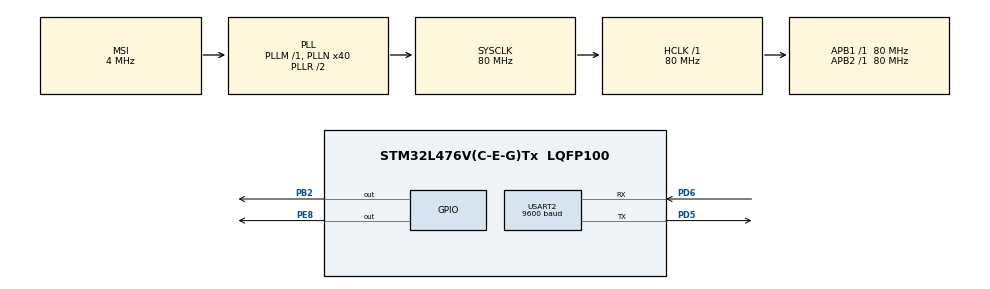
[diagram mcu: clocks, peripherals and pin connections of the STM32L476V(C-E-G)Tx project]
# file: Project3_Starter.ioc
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FREERTOS.Tasks01=defaultTask,0,128,StartDefaultTask,Default,NULL
FREERTOS.configTOTAL_HEAP_SIZE=8192
Mcu.Family=STM32L4
Mcu.Name=STM32L476V(C-E-G)Tx
Mcu.Package=LQFP100
NVIC.PriorityGroup=NVIC_PRIORITYGROUP_4
NVIC.TIM1_UP_TIM16_IRQn=true\:0\:0\:false\:false\:true\:false\:false
NVIC.TimeBase=TIM1_UP_TIM16_IRQn
NVIC.TimeBaseIP=TIM1
PB2.GPIO_Speed=GPIO_SPEED_FREQ_VERY_HIGH
PB2.Signal=GPIO_Output
PD5.Mode=Asynchronous
PD5.Signal=USART2_TX
PD6.Mode=Asynchronous
PD6.Signal=USART2_RX
PE8.GPIO_Speed=GPIO_SPEED_FREQ_VERY_HIGH
PE8.Signal=GPIO_Output
ProjectManager.HeapSize=0x2000
ProjectManager.StackSize=0xF000
ProjectManager.TargetToolchain=MDK-ARM V5
RCC.ADCFreq_Value=32000000
RCC.AHBFreq_Value=80000000
RCC.APB1Freq_Value=80000000
RCC.APB1TimFreq_Value=80000000
RCC.APB2Freq_Value=80000000
RCC.APB2TimFreq_Value=80000000
RCC.CortexFreq_Value=80000000
RCC.HCLKFreq_Value=80000000
RCC.HSE_VALUE=8000000
RCC.HSI_VALUE=16000000
RCC.LSE_VALUE=32768
RCC.MSI_VALUE=4000000
RCC.PLLN=40
RCC.PLLSAI1N=16
RCC.SYSCLKFreq_VALUE=80000000
RCC.SYSCLKSource=RCC_SYSCLKSOURCE_PLLCLK
RCC.USBFreq_Value=32000000
RCC.VCOOutputFreq_Value=160000000
USART2.BaudRate=9600
USART2.VirtualMode-Asynchronous=VM_ASYNC
VP_FREERTOS_VS_ENABLE.Mode=Enabled
VP_RNG_VS_RNG.Mode=RNG_Activate
VP_SYS_VS_tim1.Mode=TIM1
board=custom

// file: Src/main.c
/* USER CODE BEGIN Header */
/**
  ******************************************************************************
  * @file           : main.c
  * @brief          : Main program body
  ******************************************************************************
  * This notice applies to any and all portions of this file
  * that are not between comment pairs USER CODE BEGIN and
  * USER CODE END. Other portions of this file, whether
  * inserted by the user or by software development tools
  * are owned by their respective copyright owners.
  *
  * Copyright (c) 2019 STMicroelectronics International N.V.
  * All rights reserved.
  *
  * Redistribution and use in source and binary forms, with or without
  * modification, are permitted, provided that the following conditions are met:
  *
  * 1. Redistribution of source code must retain the above copyright notice,
  *    this list of conditions and the following disclaimer.
  * 2. Redistributions in binary form must reproduce the above copyright notice,
  *    this list of conditions and the following disclaimer in the documentation
  *    and/or other materials provided with the distribution.
  * 3. Neither the name of STMicroelectronics nor the names of other
  *    contributors to this software may be used to endorse or promote products
  *    derived from this software without specific written permission.
  * 4. This software, including modifications and/or derivative works of this
  *    software, must execute solely and exclusively on microcontroller or
  *    microprocessor devices manufactured by or for STMicroelectronics.
  * 5. Redistribution and use of this software other than as permitted under
  *    this license is void and will automatically terminate your rights under
  *    this license.
  *
  * THIS SOFTWARE IS PROVIDED BY STMICROELECTRONICS AND CONTRIBUTORS "AS IS"
  * AND ANY EXPRESS, IMPLIED OR STATUTORY WARRANTIES, INCLUDING, BUT NOT
  * LIMITED TO, THE IMPLIED WARRANTIES OF MERCHANTABILITY, FITNESS FOR A
  * PARTICULAR PURPOSE AND NON-INFRINGEMENT OF THIRD PARTY INTELLECTUAL PROPERTY
  * RIGHTS ARE DISCLAIMED TO THE FULLEST EXTENT PERMITTED BY LAW. IN NO EVENT
  * SHALL STMICROELECTRONICS OR CONTRIBUTORS BE LIABLE FOR ANY DIRECT, INDIRECT,
  * INCIDENTAL, SPECIAL, EXEMPLARY, OR CONSEQUENTIAL DAMAGES (INCLUDING, BUT NOT
  * LIMITED TO, PROCUREMENT OF SUBSTITUTE GOODS OR SERVICES; LOSS OF USE, DATA,
  * OR PROFITS; OR BUSINESS INTERRUPTION) HOWEVER CAUSED AND ON ANY THEORY OF
  * LIABILITY, WHETHER IN CONTRACT, STRICT LIABILITY, OR TORT (INCLUDING
  * NEGLIGENCE OR OTHERWISE) ARISING IN ANY WAY OUT OF THE USE OF THIS SOFTWARE,
  * EVEN IF ADVISED OF THE POSSIBILITY OF SUCH DAMAGE.
  *
  ******************************************************************************
  */
/* USER CODE END Header */

#include "main.h"
#include "cmsis_os.h"
#include "rng.h"
#include "usart.h"
#include "gpio.h"

/* USER CODE BEGIN Includes */
#include "led_task.h"           // needed for led_task_init

#include "recipe_task.h"
#include "user_command_task.h"

#include "prewritten_recipes.h"
#include "timer.h"
#include "LED.h"
#include "PWM.h"

/* USER CODE END Includes */

void SystemClock_Config(void);
void MX_FREERTOS_Init(void);

int main(void)
{

  /* MCU Configuration--------------------------------------------------------*/

  /* Reset of all peripherals, Initializes the Flash interface and the Systick. */
  HAL_Init();

  /* Configure the system clock */
  SystemClock_Config();

  /* Initialize all configured peripherals */
  MX_GPIO_Init();
  MX_RNG_Init();
  MX_USART2_UART_Init();
  /* USER CODE BEGIN 2 */

	USART_Printf("At start, before init functions. \r\n");

	InitPWM();
	LED_Init();
	InitTimer3();

	USART_Printf("At start, after init but before initializing tasks. \r\n");

	recipe_task_init(0, "RECIPE TASK 0", recipie_test_0, sizeof(recipie_test_0) / sizeof(char));
	recipe_task_init(1, "RECIPE TASK 1", recipie_test_1, sizeof(recipie_test_1) / sizeof(char));
	user_command_task_init("User command task.");

	USART_Printf("Initialized tasks. \r\n");

  // USART_Printf is printf() customized to this platform and uses a variable argugment list.
  // It is convenient but unnecessary.  You can use HAL functions (e.g. HAL_USART_Transmit())
  USART_Printf("System initialized, starting FreeRTOS\r\n");
  /* USER CODE END 2 */

  /* Call init function for freertos objects (in freertos.c) */
  MX_FREERTOS_Init();

  /* Start scheduler */
  osKernelStart();

  /* We should never get here as control is now taken by the scheduler */

  /* Infinite loop */
  while (1)
  {

  }
}

void SystemClock_Config(void)
{
  RCC_OscInitTypeDef RCC_OscInitStruct = {0};
  RCC_ClkInitTypeDef RCC_ClkInitStruct = {0};
  RCC_PeriphCLKInitTypeDef PeriphClkInit = {0};

  /**Initializes the CPU, AHB and APB busses clocks
  */
  RCC_OscInitStruct.OscillatorType = RCC_OSCILLATORTYPE_MSI;
  RCC_OscInitStruct.MSIState = RCC_MSI_ON;
  RCC_OscInitStruct.MSICalibrationValue = 0;
  RCC_OscInitStruct.MSIClockRange = RCC_MSIRANGE_6;
  RCC_OscInitStruct.PLL.PLLState = RCC_PLL_ON;
  RCC_OscInitStruct.PLL.PLLSource = RCC_PLLSOURCE_MSI;
  RCC_OscInitStruct.PLL.PLLM = 1;
  RCC_OscInitStruct.PLL.PLLN = 40;
  RCC_OscInitStruct.PLL.PLLP = RCC_PLLP_DIV7;
  RCC_OscInitStruct.PLL.PLLQ = RCC_PLLQ_DIV2;
  RCC_OscInitStruct.PLL.PLLR = RCC_PLLR_DIV2;
  if (HAL_RCC_OscConfig(&RCC_OscInitStruct) != HAL_OK)
  {
    Error_Handler();
  }
  /**Initializes the CPU, AHB and APB busses clocks
  */
  RCC_ClkInitStruct.ClockType = RCC_CLOCKTYPE_HCLK|RCC_CLOCKTYPE_SYSCLK
                              |RCC_CLOCKTYPE_PCLK1|RCC_CLOCKTYPE_PCLK2;
  RCC_ClkInitStruct.SYSCLKSource = RCC_SYSCLKSOURCE_PLLCLK;
  RCC_ClkInitStruct.AHBCLKDivider = RCC_SYSCLK_DIV1;
  RCC_ClkInitStruct.APB1CLKDivider = RCC_HCLK_DIV1;
  RCC_ClkInitStruct.APB2CLKDivider = RCC_HCLK_DIV1;

  if (HAL_RCC_ClockConfig(&RCC_ClkInitStruct, FLASH_LATENCY_4) != HAL_OK)
  {
    Error_Handler();
  }
  PeriphClkInit.PeriphClockSelection = RCC_PERIPHCLK_USART2|RCC_PERIPHCLK_RNG;
  PeriphClkInit.Usart2ClockSelection = RCC_USART2CLKSOURCE_PCLK1;
  PeriphClkInit.RngClockSelection = RCC_RNGCLKSOURCE_PLLSAI1;
  PeriphClkInit.PLLSAI1.PLLSAI1Source = RCC_PLLSOURCE_MSI;
  PeriphClkInit.PLLSAI1.PLLSAI1M = 1;
  PeriphClkInit.PLLSAI1.PLLSAI1N = 16;
  PeriphClkInit.PLLSAI1.PLLSAI1P = RCC_PLLP_DIV7;
  PeriphClkInit.PLLSAI1.PLLSAI1Q = RCC_PLLQ_DIV2;
  PeriphClkInit.PLLSAI1.PLLSAI1R = RCC_PLLR_DIV2;
  PeriphClkInit.PLLSAI1.PLLSAI1ClockOut = RCC_PLLSAI1_48M2CLK;
  if (HAL_RCCEx_PeriphCLKConfig(&PeriphClkInit) != HAL_OK)
  {
    Error_Handler();
  }
  /**Configure the main internal regulator output voltage
  */
  if (HAL_PWREx_ControlVoltageScaling(PWR_REGULATOR_VOLTAGE_SCALE1) != HAL_OK)
  {
    Error_Handler();
  }
}

void HAL_TIM_PeriodElapsedCallback(TIM_HandleTypeDef *htim)
{
  if (htim->Instance == TIM1) {
    HAL_IncTick();
  }
}

void Error_Handler(void)
{
}

/************************ (C) COPYRIGHT STMicroelectronics *****END OF FILE****/
